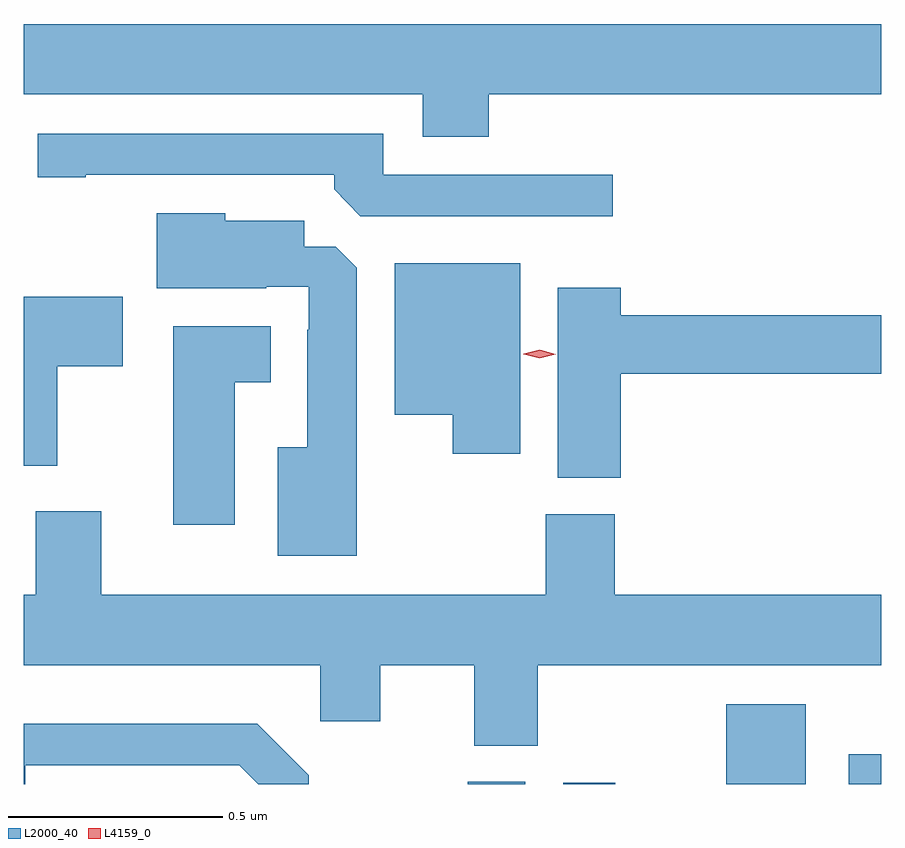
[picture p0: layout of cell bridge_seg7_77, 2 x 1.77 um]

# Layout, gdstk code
import gdstk
lib = gdstk.Library(unit=1e-6, precision=1e-09)
def R(c, l, rs):  # rectangles x0, y0, x1, y1
    for r in rs: c.add(gdstk.rectangle(r[:2], r[2:], *l))
def P(c, l, *ps):  # polygons
    for p in ps: c.add(gdstk.Polygon(p, *l))
L2000_40 = (2000, 40)
L4159_0 = (4159, 0)

bridge_seg7_77 = lib.new_cell('bridge_seg7_77')
R(bridge_seg7_77, L2000_40, [(1067.126,1033.639,1067.26,1033.644), (1067.348,1033.639,1067.47,1033.642), (1067.729,1033.639,1067.914,1033.825), (1068.014,1033.639,1068.09,1033.708)])
P(bridge_seg7_77, L2000_40, [(1067.174,1035.248),(1068.09,1035.248),(1068.09,1035.412),(1066.09,1035.412),(1066.09,1035.248),(1067.021,1035.248),(1067.021,1035.149),(1067.174,1035.149)],
  [(1067.464,1035.06),(1066.929,1035.06),(1066.929,1035.156),(1066.122,1035.156),(1066.122,1035.055),(1066.234,1035.055),(1066.234,1035.06),(1066.814,1035.06),(1066.814,1035.026),(1066.875,1034.964),(1067.464,1034.964)],
  [(1066.867,1034.843),(1066.818,1034.892),(1066.744,1034.892),(1066.744,1034.953),(1066.56,1034.953),(1066.56,1034.971),(1066.4,1034.971),(1066.4,1034.795),(1066.655,1034.795),(1066.655,1034.799),(1066.755,1034.799),(1066.755,1034.699),(1066.751,1034.699),(1066.751,1034.425),(1066.682,1034.425),(1066.682,1034.171),(1066.867,1034.171)],
  [(1067.248,1034.854),(1066.955,1034.854),(1066.955,1034.501),(1067.09,1034.501),(1067.09,1034.409),(1067.248,1034.409)],
  [(1067.483,1034.596),(1068.09,1034.596),(1068.09,1034.732),(1067.483,1034.732),(1067.483,1034.797),(1067.336,1034.797),(1067.336,1034.353),(1067.483,1034.353)],
  [(1066.168,1034.614),(1066.321,1034.614),(1066.321,1034.776),(1066.09,1034.776),(1066.09,1034.381),(1066.168,1034.381)],
  [(1066.582,1034.576),(1066.666,1034.576),(1066.666,1034.707),(1066.439,1034.707),(1066.439,1034.244),(1066.582,1034.244)],
  [(1067.289,1033.916),(1068.09,1033.916),(1068.09,1034.08),(1067.468,1034.08),(1067.468,1034.268),(1067.308,1034.268),(1067.308,1034.08),(1066.27,1034.08),(1066.27,1034.275),(1066.118,1034.275),(1066.118,1034.08),(1066.09,1034.08),(1066.09,1033.916),(1066.782,1033.916),(1066.782,1033.785),(1066.921,1033.785),(1066.921,1033.916),(1067.141,1033.916),(1067.141,1033.728),(1067.289,1033.728)],
  [(1066.093,1033.683),(1066.593,1033.683),(1066.637,1033.639),(1066.755,1033.639),(1066.755,1033.659),(1066.634,1033.78),(1066.09,1033.78),(1066.09,1033.639),(1066.093,1033.639)])
P(bridge_seg7_77, L4159_0, [(1067.293,1034.632),(1067.256,1034.642),(1067.255,1034.642),(1067.256,1034.643),(1067.293,1034.652),(1067.331,1034.642),(1067.331,1034.642),(1067.331,1034.642)])

lib.write_gds('bridge_seg7_77.gds')
